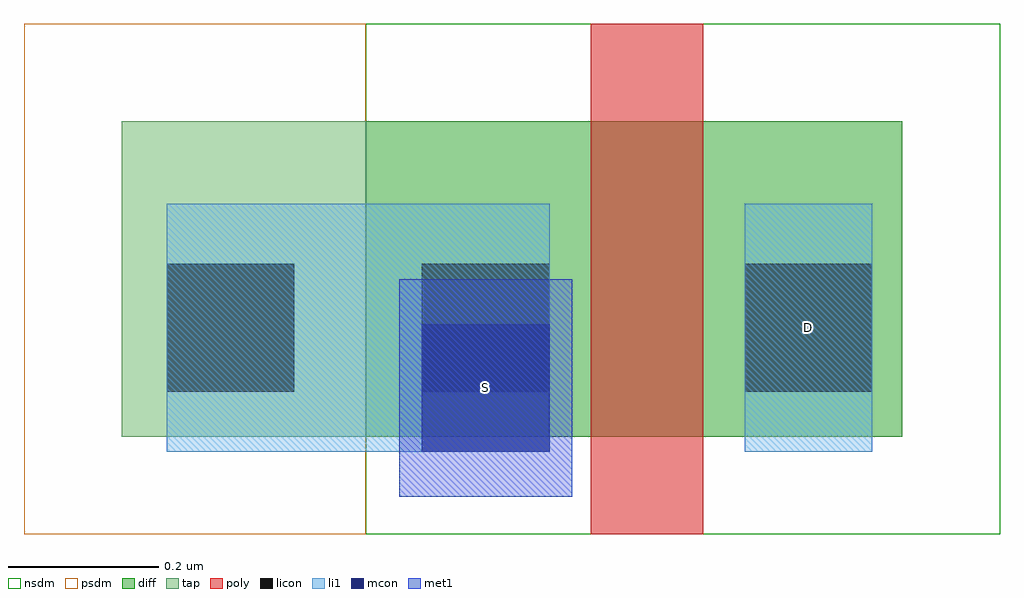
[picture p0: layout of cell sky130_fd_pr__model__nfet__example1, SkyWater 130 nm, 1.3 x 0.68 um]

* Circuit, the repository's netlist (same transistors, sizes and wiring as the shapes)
* Copyright 2020 The SkyWater PDK Authors
*
* Licensed under the Apache License, Version 2.0 (the "License");
* you may not use this file except in compliance with the License.
* You may obtain a copy of the License at
*
*     https://www.apache.org/licenses/LICENSE-2.0
*
* Unless required by applicable law or agreed to in writing, software
* distributed under the License is distributed on an "AS IS" BASIS,
* WITHOUT WARRANTIES OR CONDITIONS OF ANY KIND, either express or implied.
* See the License for the specific language governing permissions and
* limitations under the License.
*
* SPDX-License-Identifier: Apache-2.0


* Top level circuit sky130_fd_pr__model__nfet__example1
X0 a_30_0# a_0_n26# a_n50_0# SUBS sky130_fd_pr__nfet_01v8 w=420000u l=150000u
.end

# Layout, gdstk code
from math import pi, radians
import gdstk
lib = gdstk.Library(unit=1e-6, precision=1e-09)
def R(c, l, rs):  # rectangles x0, y0, x1, y1
    for r in rs: c.add(gdstk.rectangle(r[:2], r[2:], *l))
diff = (65, 20)
tap = (65, 44)
poly = (66, 20)
licon = (66, 44)
li1 = (67, 20)
mcon = (67, 44)
met1 = (68, 20)
nsdm = (93, 44)
psdm = (94, 20)

sky130_fd_pr__dfl1sd__ex = lib.new_cell('sky130_fd_pr__dfl1sd__example_175312940')
R(sky130_fd_pr__dfl1sd__ex, diff, [(0,0,0.265,0.42)])
R(sky130_fd_pr__dfl1sd__ex, licon, [(0.055,0.06,0.225,0.23)])
R(sky130_fd_pr__dfl1sd__ex, li1, [(0.055,-0.02,0.225,0.31)])
R(sky130_fd_pr__dfl1sd__ex, nsdm, [(-0.13,-0.13,0.395,0.55)])

sky130_fd_pr__dftpm1s__e = lib.new_cell('sky130_fd_pr__dftpm1s__example_175308844')
R(sky130_fd_pr__dftpm1s__e, diff, [(0,0,0.3,0.42), (0.25,0,0.3,0.42)])
R(sky130_fd_pr__dftpm1s__e, tap, [(0.3,0,0.625,0.42)])
R(sky130_fd_pr__dftpm1s__e, licon, [(0.055,0.06,0.225,0.23), (0.395,0.06,0.565,0.23)])
R(sky130_fd_pr__dftpm1s__e, li1, [(0.055,-0.02,0.565,0.31)])
R(sky130_fd_pr__dftpm1s__e, mcon, [(0.055,-0.02,0.225,0.15)])
R(sky130_fd_pr__dftpm1s__e, met1, [(0.025,-0.08,0.255,0.21)])
R(sky130_fd_pr__dftpm1s__e, nsdm, [(-0.13,-0.13,0.3,0.55)])
R(sky130_fd_pr__dftpm1s__e, psdm, [(0.3,-0.13,0.755,0.55)])

sky130_fd_pr__model__nfe = lib.new_cell('sky130_fd_pr__model__nfet__example1')
R(sky130_fd_pr__model__nfe, diff, [(-0.25,0,0,0.42), (0,0,0.15,0.42), (0.15,0,0.4,0.42)])
R(sky130_fd_pr__model__nfe, poly, [(0,-0.13,0.15,0), (0,-0.13,0.15,0.55), (0,0.42,0.15,0.55)])
R(sky130_fd_pr__model__nfe, li1, [(0.205,-0.02,0.375,0.31)])
R(sky130_fd_pr__model__nfe, met1, [(-0.255,-0.08,-0.025,0.21)])
R(sky130_fd_pr__model__nfe, nsdm, [(-0.25,-0.13,0.4,0.55)])
sky130_fd_pr__model__nfe.add(gdstk.Reference(sky130_fd_pr__dfl1sd__ex, (0.15,0)))
sky130_fd_pr__model__nfe.add(gdstk.Reference(sky130_fd_pr__dftpm1s__e, (0,0), rotation=pi, x_reflection=True))
sky130_fd_pr__model__nfe.add(gdstk.Label('D', (0.29,0.145), layer=83, texttype=44))
sky130_fd_pr__model__nfe.add(gdstk.Label('S', (-0.14,0.065), layer=83, texttype=44))

lib.write_gds('sky130_fd_pr__model__nfet__example1.gds')
